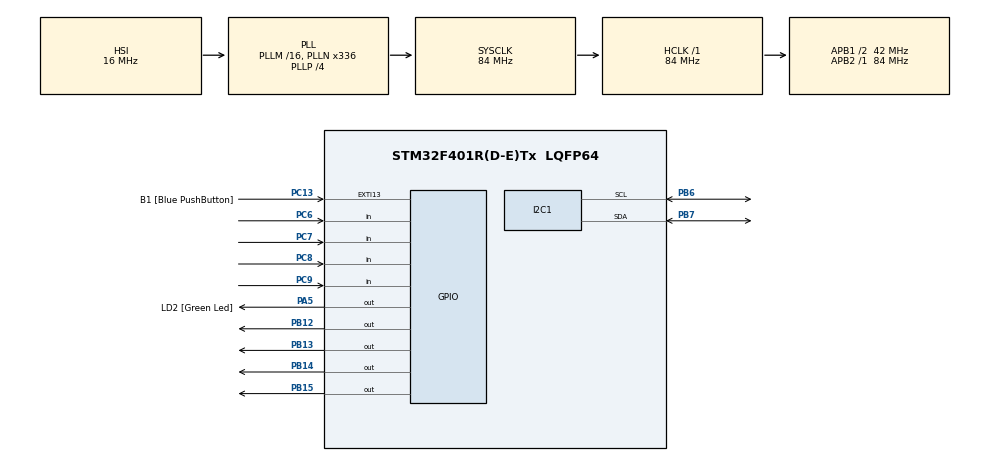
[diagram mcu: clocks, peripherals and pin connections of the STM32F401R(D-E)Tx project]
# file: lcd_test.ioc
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Mcu.Family=STM32F4
Mcu.Name=STM32F401R(D-E)Tx
Mcu.Package=LQFP64
NVIC.PriorityGroup=NVIC_PRIORITYGROUP_4
NVIC.TIM4_IRQn=true\:0\:0\:false\:false\:true\:false\:true\:true
NVIC.TimeBase=TIM4_IRQn
NVIC.TimeBaseIP=TIM4
PA13.GPIO_Label=TMS
PA13.Signal=SYS_JTMS-SWDIO
PA14.GPIO_Label=TCK
PA14.Signal=SYS_JTCK-SWCLK
PA2.GPIO_Label=USART_TX
PA2.GPIO_Mode=GPIO_MODE_AF_PP
PA2.GPIO_PuPd=GPIO_NOPULL
PA2.GPIO_Speed=GPIO_SPEED_FREQ_LOW
PA2.Signal=USART2_TX
PA3.GPIO_Label=USART_RX
PA3.GPIO_Mode=GPIO_MODE_AF_PP
PA3.GPIO_PuPd=GPIO_NOPULL
PA3.GPIO_Speed=GPIO_SPEED_FREQ_LOW
PA3.Signal=USART2_RX
PA5.GPIO_Label=LD2 [Green Led]
PA5.GPIO_Mode=GPIO_MODE_OUTPUT_PP
PA5.GPIO_PuPd=GPIO_NOPULL
PA5.GPIO_Speed=GPIO_SPEED_FREQ_LOW
PA5.Signal=GPIO_Output
PB12.PinState=GPIO_PIN_SET
PB12.Signal=GPIO_Output
PB13.PinState=GPIO_PIN_SET
PB13.Signal=GPIO_Output
PB14.PinState=GPIO_PIN_SET
PB14.Signal=GPIO_Output
PB15.PinState=GPIO_PIN_SET
PB15.Signal=GPIO_Output
PB3.GPIO_Label=SWO
PB3.Signal=SYS_JTDO-SWO
PB6.Mode=I2C
PB6.Signal=I2C1_SCL
PB7.Mode=I2C
PB7.Signal=I2C1_SDA
PC13-ANTI_TAMP.GPIO_Label=B1 [Blue PushButton]
PC13-ANTI_TAMP.GPIO_ModeDefaultEXTI=GPIO_MODE_IT_FALLING
PC13-ANTI_TAMP.GPIO_PuPd=GPIO_NOPULL
PC13-ANTI_TAMP.Signal=GPXTI13
PC14-OSC32_IN.Signal=RCC_OSC32_IN
PC15-OSC32_OUT.Signal=RCC_OSC32_OUT
PC6.GPIO_PuPd=GPIO_PULLUP
PC6.Signal=GPIO_Input
PC7.GPIO_PuPd=GPIO_PULLUP
PC7.Signal=GPIO_Input
PC8.GPIO_PuPd=GPIO_PULLUP
PC8.Signal=GPIO_Input
PC9.GPIO_PuPd=GPIO_PULLUP
PC9.Signal=GPIO_Input
PH0\ -\ OSC_IN.Signal=RCC_OSC_IN
PH1\ -\ OSC_OUT.Signal=RCC_OSC_OUT
ProjectManager.HeapSize=0x200
ProjectManager.StackSize=0x400
ProjectManager.TargetToolchain=STM32CubeIDE
RCC.AHBFreq_Value=84000000
RCC.APB1CLKDivider=RCC_HCLK_DIV2
RCC.APB1Freq_Value=42000000
RCC.APB1TimFreq_Value=84000000
RCC.APB2Freq_Value=84000000
RCC.APB2TimFreq_Value=84000000
RCC.CortexFreq_Value=84000000
RCC.HCLKFreq_Value=84000000
RCC.HSE_VALUE=8000000
RCC.HSI_VALUE=16000000
RCC.LSE_VALUE=32768
RCC.PLLN=336
RCC.PLLP=RCC_PLLP_DIV4
RCC.PLLQ=7
RCC.SYSCLKFreq_VALUE=84000000
RCC.SYSCLKSource=RCC_SYSCLKSOURCE_PLLCLK
RCC.VCOOutputFreq_Value=336000000
TIM1.Period=0xffff-1
TIM1.Prescaler=84-1
VP_SYS_VS_tim4.Mode=TIM4
VP_TIM1_VS_ClockSourceINT.Mode=Internal
board=NUCLEO-F401RE

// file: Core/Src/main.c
/* USER CODE BEGIN Header */
/**
  ******************************************************************************
  * @file           : main.c
  * @brief          : Main program body
  ******************************************************************************
  * @attention
  *
  * Copyright (c) 2025 STMicroelectronics.
  * All rights reserved.
  *
  * This software is licensed under terms that can be found in the LICENSE file
  * in the root directory of this software component.
  * If no LICENSE file comes with this software, it is provided AS-IS.
  *
  ******************************************************************************
  */
/* USER CODE END Header */
#include "main.h"

/* USER CODE BEGIN Includes */
#include "LCD_I2C.h"
#include "keypad.h"
#include "FreeRTOS.h"
#include "task.h"
#include "queue.h"
#include <stdio.h>
/* USER CODE END Includes */

I2C_HandleTypeDef hi2c1;

TIM_HandleTypeDef htim1;

/* USER CODE BEGIN PV */
CLCD_I2C_Name LCD1;

TaskHandle_t handle_sensor_task;
TaskHandle_t handle_print_task;
TaskHandle_t handle_scan_keypad_task;
TaskHandle_t handle_config_task;

void sensor_task(void *param);
void print_task(void *param);
void scan_keypad_task(void *param);
void config_task(void *param);

QueueHandle_t q_print;

//state variable
state_t curr_state = sRunning;
/* USER CODE END PV */

void SystemClock_Config(void);
static void MX_GPIO_Init(void);
static void MX_TIM1_Init(void);
static void MX_I2C1_Init(void);

int main(void)
{

  /* USER CODE BEGIN 1 */
	BaseType_t status;
  /* USER CODE END 1 */

  /* MCU Configuration--------------------------------------------------------*/

  /* Reset of all peripherals, Initializes the Flash interface and the Systick. */
  HAL_Init();

  /* Configure the system clock */
  SystemClock_Config();

  /* Initialize all configured peripherals */
  MX_GPIO_Init();
  MX_TIM1_Init();
  MX_I2C1_Init();
  /* USER CODE BEGIN 2 */
  CLCD_I2C_Init(&LCD1,&hi2c1,0x4e,20,4);
  CLCD_I2C_SetCursor(&LCD1, 0, 0);
  CLCD_I2C_WriteString(&LCD1,"key:");
  /* USER CODE END 2 */
  status = xTaskCreate(sensor_task, "sensor_task", 250, NULL, 2, &handle_sensor_task);

  configASSERT(status);

  status = xTaskCreate(scan_keypad_task, "scan_keypad_task", 250, NULL, 2, &handle_scan_keypad_task);

  configASSERT(status);

  status = xTaskCreate(config_task, "config_task", 250, NULL, 2, &handle_config_task);

  configASSERT(status);

  status = xTaskCreate(print_task, "print_task", 250, NULL, 2, &handle_print_task);

  configASSERT(status);

  q_print = xQueueCreate(10, sizeof(size_t));

  configASSERT(q_print != NULL);

  printf("created tasks sucessfully\n");

  vTaskStartScheduler();

  /* Infinite loop */
  while (1)
  {

    /* USER CODE BEGIN 3 */
//	  uint16_t btn_value;
//	  btn_value = process_button_pad_value(read_keypad());
//		  if (btn_value)
//		     {
//		         switch (btn_value)
//		         {
//		             case BUTTON_A_3:
//		                 CLCD_I2C_WriteString(&LCD1, "config state");
//		                 break;
//
//		             case BUTTON_1:
//		                 CLCD_I2C_WriteString(&LCD1, "1");
//		                 break;
//
//		             case BUTTON_2:
//		                 CLCD_I2C_WriteString(&LCD1, "2");
//		                 break;
//
//		             case BUTTON_3:
//		                 CLCD_I2C_WriteString(&LCD1, "3");
//		                 break;
//
//		             case BUTTON_A:
//		                 CLCD_I2C_WriteString(&LCD1, "A");
//		                 break;
//
//		             case BUTTON_4:
//		                 CLCD_I2C_WriteString(&LCD1, "4");
//		                 break;
//
//		             case BUTTON_5:
//		                 CLCD_I2C_WriteString(&LCD1, "5");
//		                 break;
//
//		             case BUTTON_6:
//		                 CLCD_I2C_WriteString(&LCD1, "6");
//		                 break;
//
//		             case BUTTON_B:
//		                 CLCD_I2C_WriteString(&LCD1, "B");
//		                 break;
//
//		             case BUTTON_7:
//		                 CLCD_I2C_WriteString(&LCD1, "7");
//		                 break;
//
//		             case BUTTON_8:
//		                 CLCD_I2C_WriteString(&LCD1, "8");
//		                 break;
//
//		             case BUTTON_9:
//		                 CLCD_I2C_WriteString(&LCD1, "9");
//		                 break;
//
//		             case BUTTON_C:
//		                 CLCD_I2C_WriteString(&LCD1, "C");
//		                 break;
//
//		             case BUTTON_Star:
//		                 CLCD_I2C_WriteString(&LCD1, "*");
//		                 break;
//
//		             case BUTTON_0:
//		                 CLCD_I2C_WriteString(&LCD1, "0");
//		                 break;
//
//		             case BUTTON_Hash:
//		                 CLCD_I2C_WriteString(&LCD1, "#");
//		                 break;
//
//		             case BUTTON_D:
//		                 CLCD_I2C_WriteString(&LCD1, "D");
//		                 break;
//
//		             default:
//		                 break;
//		         }
//		     }
  }
  /* USER CODE END 3 */
}

void SystemClock_Config(void)
{
  RCC_OscInitTypeDef RCC_OscInitStruct = {0};
  RCC_ClkInitTypeDef RCC_ClkInitStruct = {0};

  /** Configure the main internal regulator output voltage
  */
  __HAL_RCC_PWR_CLK_ENABLE();
  __HAL_PWR_VOLTAGESCALING_CONFIG(PWR_REGULATOR_VOLTAGE_SCALE2);

  /** Initializes the RCC Oscillators according to the specified parameters
  * in the RCC_OscInitTypeDef structure.
  */
  RCC_OscInitStruct.OscillatorType = RCC_OSCILLATORTYPE_HSI;
  RCC_OscInitStruct.HSIState = RCC_HSI_ON;
  RCC_OscInitStruct.HSICalibrationValue = RCC_HSICALIBRATION_DEFAULT;
  RCC_OscInitStruct.PLL.PLLState = RCC_PLL_ON;
  RCC_OscInitStruct.PLL.PLLSource = RCC_PLLSOURCE_HSI;
  RCC_OscInitStruct.PLL.PLLM = 16;
  RCC_OscInitStruct.PLL.PLLN = 336;
  RCC_OscInitStruct.PLL.PLLP = RCC_PLLP_DIV4;
  RCC_OscInitStruct.PLL.PLLQ = 7;
  if (HAL_RCC_OscConfig(&RCC_OscInitStruct) != HAL_OK)
  {
    Error_Handler();
  }

  /** Initializes the CPU, AHB and APB buses clocks
  */
  RCC_ClkInitStruct.ClockType = RCC_CLOCKTYPE_HCLK|RCC_CLOCKTYPE_SYSCLK
                              |RCC_CLOCKTYPE_PCLK1|RCC_CLOCKTYPE_PCLK2;
  RCC_ClkInitStruct.SYSCLKSource = RCC_SYSCLKSOURCE_PLLCLK;
  RCC_ClkInitStruct.AHBCLKDivider = RCC_SYSCLK_DIV1;
  RCC_ClkInitStruct.APB1CLKDivider = RCC_HCLK_DIV2;
  RCC_ClkInitStruct.APB2CLKDivider = RCC_HCLK_DIV1;

  if (HAL_RCC_ClockConfig(&RCC_ClkInitStruct, FLASH_LATENCY_2) != HAL_OK)
  {
    Error_Handler();
  }
}

static void MX_I2C1_Init(void)
{

  hi2c1.Instance = I2C1;
  hi2c1.Init.ClockSpeed = 100000;
  hi2c1.Init.DutyCycle = I2C_DUTYCYCLE_2;
  hi2c1.Init.OwnAddress1 = 0;
  hi2c1.Init.AddressingMode = I2C_ADDRESSINGMODE_7BIT;
  hi2c1.Init.DualAddressMode = I2C_DUALADDRESS_DISABLE;
  hi2c1.Init.OwnAddress2 = 0;
  hi2c1.Init.GeneralCallMode = I2C_GENERALCALL_DISABLE;
  hi2c1.Init.NoStretchMode = I2C_NOSTRETCH_DISABLE;
  if (HAL_I2C_Init(&hi2c1) != HAL_OK)
  {
    Error_Handler();
  }

}

static void MX_TIM1_Init(void)
{

  TIM_ClockConfigTypeDef sClockSourceConfig = {0};
  TIM_MasterConfigTypeDef sMasterConfig = {0};

  htim1.Instance = TIM1;
  htim1.Init.Prescaler = 84-1;
  htim1.Init.CounterMode = TIM_COUNTERMODE_UP;
  htim1.Init.Period = 0xffff-1;
  htim1.Init.ClockDivision = TIM_CLOCKDIVISION_DIV1;
  htim1.Init.RepetitionCounter = 0;
  htim1.Init.AutoReloadPreload = TIM_AUTORELOAD_PRELOAD_DISABLE;
  if (HAL_TIM_Base_Init(&htim1) != HAL_OK)
  {
    Error_Handler();
  }
  sClockSourceConfig.ClockSource = TIM_CLOCKSOURCE_INTERNAL;
  if (HAL_TIM_ConfigClockSource(&htim1, &sClockSourceConfig) != HAL_OK)
  {
    Error_Handler();
  }
  sMasterConfig.MasterOutputTrigger = TIM_TRGO_RESET;
  sMasterConfig.MasterSlaveMode = TIM_MASTERSLAVEMODE_DISABLE;
  if (HAL_TIMEx_MasterConfigSynchronization(&htim1, &sMasterConfig) != HAL_OK)
  {
    Error_Handler();
  }

}

static void MX_GPIO_Init(void)
{
  GPIO_InitTypeDef GPIO_InitStruct = {0};

  /* GPIO Ports Clock Enable */
  __HAL_RCC_GPIOC_CLK_ENABLE();
  __HAL_RCC_GPIOH_CLK_ENABLE();
  __HAL_RCC_GPIOA_CLK_ENABLE();
  __HAL_RCC_GPIOB_CLK_ENABLE();

  /*Configure GPIO pin Output Level */
  HAL_GPIO_WritePin(LD2_GPIO_Port, LD2_Pin, GPIO_PIN_RESET);

  /*Configure GPIO pin Output Level */
  HAL_GPIO_WritePin(GPIOB, GPIO_PIN_12|GPIO_PIN_13|GPIO_PIN_14|GPIO_PIN_15, GPIO_PIN_SET);

  /*Configure GPIO pin : B1_Pin */
  GPIO_InitStruct.Pin = B1_Pin;
  GPIO_InitStruct.Mode = GPIO_MODE_IT_FALLING;
  GPIO_InitStruct.Pull = GPIO_NOPULL;
  HAL_GPIO_Init(B1_GPIO_Port, &GPIO_InitStruct);

  /*Configure GPIO pins : USART_TX_Pin USART_RX_Pin */
  GPIO_InitStruct.Pin = USART_TX_Pin|USART_RX_Pin;
  GPIO_InitStruct.Mode = GPIO_MODE_AF_PP;
  GPIO_InitStruct.Pull = GPIO_NOPULL;
  GPIO_InitStruct.Speed = GPIO_SPEED_FREQ_LOW;
  GPIO_InitStruct.Alternate = GPIO_AF7_USART2;
  HAL_GPIO_Init(GPIOA, &GPIO_InitStruct);

  /*Configure GPIO pin : LD2_Pin */
  GPIO_InitStruct.Pin = LD2_Pin;
  GPIO_InitStruct.Mode = GPIO_MODE_OUTPUT_PP;
  GPIO_InitStruct.Pull = GPIO_NOPULL;
  GPIO_InitStruct.Speed = GPIO_SPEED_FREQ_LOW;
  HAL_GPIO_Init(LD2_GPIO_Port, &GPIO_InitStruct);

  /*Configure GPIO pins : PB12 PB13 PB14 PB15 */
  GPIO_InitStruct.Pin = GPIO_PIN_12|GPIO_PIN_13|GPIO_PIN_14|GPIO_PIN_15;
  GPIO_InitStruct.Mode = GPIO_MODE_OUTPUT_PP;
  GPIO_InitStruct.Pull = GPIO_NOPULL;
  GPIO_InitStruct.Speed = GPIO_SPEED_FREQ_LOW;
  HAL_GPIO_Init(GPIOB, &GPIO_InitStruct);

  /*Configure GPIO pins : PC6 PC7 PC8 PC9 */
  GPIO_InitStruct.Pin = GPIO_PIN_6|GPIO_PIN_7|GPIO_PIN_8|GPIO_PIN_9;
  GPIO_InitStruct.Mode = GPIO_MODE_INPUT;
  GPIO_InitStruct.Pull = GPIO_PULLUP;
  HAL_GPIO_Init(GPIOC, &GPIO_InitStruct);

}

/* USER CODE BEGIN 4 */
void sensor_task(void *param){
	while(1){
		CLCD_I2C_WriteString(&LCD1, "sensor");
		vTaskDelay(1000);
	}
}
void print_task(void *param){
	while(1){

	}

}
void scan_keypad_task(void *param){
	uint16_t btn_value;
	while(1){
		btn_value = process_button_pad_value(read_keypad());
		if(curr_state == sRunning){
			if(btn_value == BUTTON_A_3){
				CLCD_I2C_WriteString(&LCD1, "config state");
			}
		}
		else{

		}
		vTaskDelay(20);
	}
}
void config_task(void *param){

	while(1){

	}

}
/* USER CODE END 4 */

void HAL_TIM_PeriodElapsedCallback(TIM_HandleTypeDef *htim)
{
  if (htim->Instance == TIM4) {
    HAL_IncTick();
  }
}

void Error_Handler(void)
{
  __disable_irq();
  while (1)
  {
  }
}
